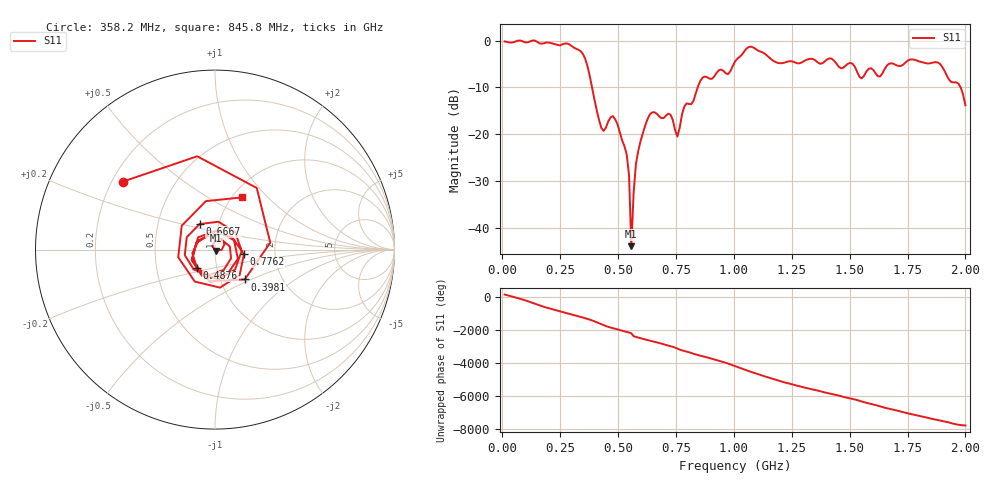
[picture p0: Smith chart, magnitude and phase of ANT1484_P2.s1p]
!Created with skrf (http://scikit-rf.org).
# Hz S RI R 50.0
!freq ReS11 ImS11
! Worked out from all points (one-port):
!   201 points, 10 MHz to 2 GHz, reference 50 ohm
!   lowest |S11| = -43.9 dB at 557.2 MHz (marker M1), VSWR 1.01, Z = 50.4 - j0.521 ohm
!   |S11| at or under -10 dB: 387.5 MHz to 843.8 MHz (456.3 MHz wide, 74.1 % of centre); 1.98 GHz to end of sweep
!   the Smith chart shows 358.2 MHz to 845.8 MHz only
!   S11 on the Smith chart (normalised r, x): 358.2 MHz: 0.24, +0.31; 398.1 MHz: 1.31, -0.46; 487.6 MHz: 0.80, -0.17; 666.7 MHz: 0.81, +0.24; 776.1 MHz: 1.38, -0.07; 845.8 MHz: 1.11, +0.72
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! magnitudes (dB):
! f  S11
! 10 MHz  -0.2
! 258.8 MHz  -0.8
! 358.2 MHz  -3.9
! 398.1 MHz  -12.6
! 437.9 MHz  -19.3
! 487.6 MHz  -16.8
! 507.5 MHz  -19.6
! 537.4 MHz  -24.3
! 547.3 MHz  -28.7
! 557.2 MHz  -43.9
! 567.2 MHz  -32.5
! 577.1 MHz  -26.3
! 587.1 MHz  -23.6
! 636.9 MHz  -15.8
! 666.7 MHz  -15.6
! 726.4 MHz  -15.8
! 756.2 MHz  -20.5
! 776.1 MHz  -15.7
! 845.8 MHz  -9.7
! 1.005 GHz  -4.5
! 1.075 GHz  -1.3
! 1.254 GHz  -4.5
! 1.502 GHz  -4.7
! 1.552 GHz  -8.1
! 1.751 GHz  -4.3
! 1.891 GHz  -5.0
! 1.97 GHz  -9.2
! 2 GHz  -13.8
